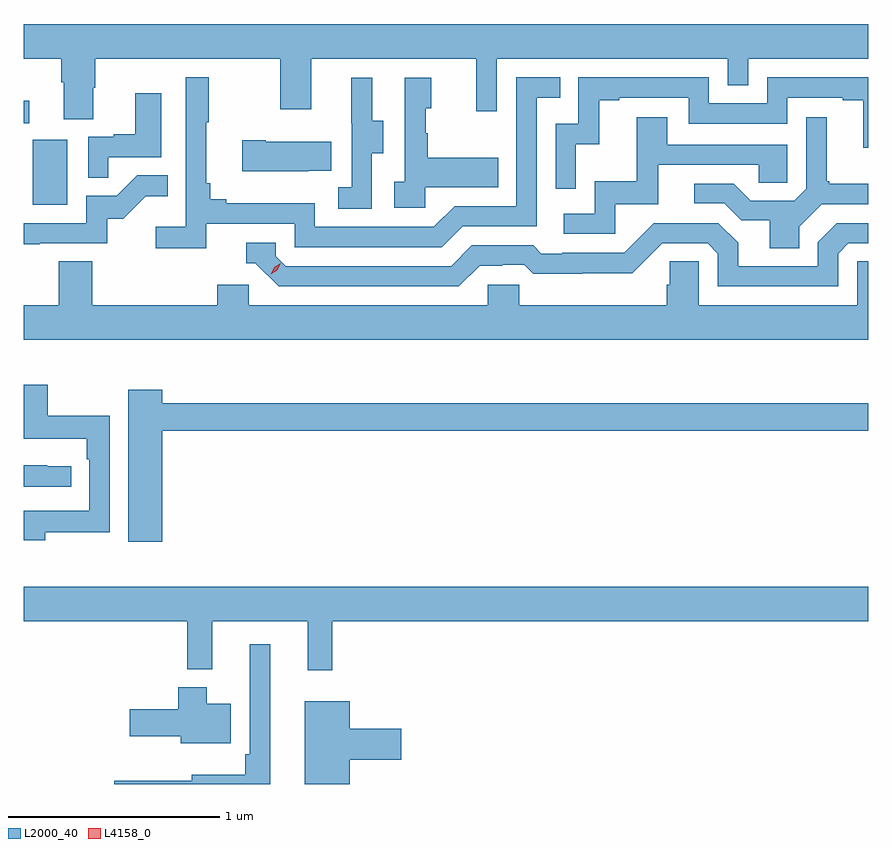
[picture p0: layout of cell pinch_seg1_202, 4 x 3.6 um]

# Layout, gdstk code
import gdstk
lib = gdstk.Library(unit=1e-6, precision=1e-09)
def R(c, l, rs):  # rectangles x0, y0, x1, y1
    for r in rs: c.add(gdstk.rectangle(r[:2], r[2:], *l))
def P(c, l, *ps):  # polygons
    for p in ps: c.add(gdstk.Polygon(p, *l))
L2000_40 = (2000, 40)
L4158_0 = (4158, 0)

pinch_seg1_202 = lib.new_cell('pinch_seg1_202')
R(pinch_seg1_202, L2000_40, [(997.82,579.012,997.984,579.319), (997.777,579.399,997.804,579.505)])
P(pinch_seg1_202, L2000_40, [(998.107,579.567),(998.115,579.567),(998.115,579.704),(998.992,579.704),(998.992,579.465),(999.139,579.465),(999.139,579.704),(999.92,579.704),(999.92,579.456),(1000.017,579.456),(1000.017,579.704),(1001.112,579.704),(1001.112,579.577),(1001.208,579.577),(1001.208,579.704),(1001.777,579.704),(1001.777,579.868),(997.777,579.868),(997.777,579.704),(997.955,579.704),(997.955,579.592),(997.967,579.592),(997.967,579.418),(998.107,579.418)],
  [(998.642,578.922),(999.06,578.922),(999.06,578.811),(999.757,578.811),(999.856,578.91),(1000.206,578.91),(1000.206,579.519),(1000.319,579.519),(1000.319,579.615),(1000.11,579.615),(1000.11,579.006),(999.819,579.006),(999.72,578.907),(999.156,578.907),(999.156,579.019),(998.737,579.019),(998.737,579.038),(998.66,579.038),(998.66,579.115),(998.641,579.115),(998.641,579.403),(998.653,579.403),(998.653,579.616),(998.544,579.616),(998.544,578.908),(998.403,578.908),(998.403,578.806),(998.642,578.806)],
  [(1000.392,579.299),(1000.502,579.299),(1000.502,579.507),(1000.597,579.507),(1000.597,579.519),(1000.926,579.519),(1000.926,579.396),(1001.394,579.396),(1001.394,579.519),(1001.657,579.519),(1001.657,579.507),(1001.753,579.507),(1001.753,579.281),(1001.777,579.281),(1001.777,579.615),(1001.298,579.615),(1001.298,579.492),(1001.022,579.492),(1001.022,579.615),(1000.404,579.615),(1000.404,579.396),(1000.296,579.396),(1000.296,579.087),(1000.392,579.087)],
  [(999.678,579.095),(1000.025,579.095),(1000.025,579.235),(999.691,579.235),(999.691,579.35),(999.681,579.35),(999.681,579.468),(999.706,579.468),(999.706,579.613),(999.582,579.613),(999.582,579.122),(999.531,579.122),(999.531,578.997),(999.678,578.997)],
  [(999.426,579.256),(999.481,579.256),(999.481,579.411),(999.427,579.411),(999.427,579.613),(999.329,579.613),(999.329,579.399),(999.33,579.399),(999.33,579.095),(999.267,579.095),(999.267,578.992),(999.426,578.992)],
  [(998.177,579.237),(998.428,579.237),(998.428,579.541),(998.306,579.541),(998.306,579.346),(998.203,579.346),(998.203,579.333),(998.082,579.333),(998.082,579.139),(998.177,579.139)],
  [(1001.449,578.908),(1001.556,579.015),(1001.777,579.015),(1001.777,579.112),(1001.593,579.112),(1001.593,579.124),(1001.581,579.124),(1001.581,579.427),(1001.484,579.427),(1001.484,579.087),(1001.427,579.03),(1001.221,579.03),(1001.14,579.111),(1000.953,579.111),(1000.953,579.018),(1001.094,579.018),(1001.174,578.938),(1001.309,578.938),(1001.309,578.806),(1001.449,578.806)],
  [(1000.578,579.015),(1000.783,579.015),(1000.783,579.201),(1001.257,579.201),(1001.257,579.117),(1001.394,579.117),(1001.394,579.297),(1000.825,579.297),(1000.825,579.427),(1000.681,579.427),(1000.681,579.124),(1000.482,579.124),(1000.482,578.97),(1000.335,578.97),(1000.335,578.874),(1000.578,578.874)],
  [(999.125,579.173),(999.233,579.173),(999.233,579.31),(998.923,579.31),(998.923,579.318),(998.811,579.318),(998.811,579.17),(999.125,579.17)],
  [(997.853,578.829),(998.172,578.829),(998.172,578.946),(998.248,578.946),(998.355,579.053),(998.459,579.053),(998.459,579.152),(998.316,579.152),(998.218,579.054),(998.073,579.054),(998.073,578.925),(997.777,578.925),(997.777,578.824),(997.853,578.824)],
  [(999.937,578.724),(1000.044,578.724),(1000.044,578.727),(1000.147,578.727),(1000.189,578.685),(1000.422,578.685),(1000.422,578.687),(1000.658,578.687),(1000.8,578.829),(1001.016,578.829),(1001.064,578.781),(1001.064,578.625),(1001.634,578.625),(1001.634,578.781),(1001.682,578.829),(1001.777,578.829),(1001.777,578.925),(1001.628,578.925),(1001.538,578.835),(1001.538,578.721),(1001.161,578.721),(1001.161,578.831),(1001.067,578.925),(1000.761,578.925),(1000.62,578.784),(1000.327,578.784),(1000.327,578.781),(1000.228,578.781),(1000.189,578.82),(999.9,578.82),(999.801,578.721),(999.018,578.721),(998.97,578.769),(998.97,578.832),(998.831,578.832),(998.831,578.736),(998.874,578.736),(998.985,578.625),(999.838,578.625)],
  [(1001.777,578.744),(1001.724,578.744),(1001.724,578.536),(1000.974,578.536),(1000.974,578.744),(1000.837,578.744),(1000.837,578.634),(1000.823,578.634),(1000.823,578.536),(1000.125,578.536),(1000.125,578.634),(999.975,578.634),(999.975,578.536),(998.844,578.536),(998.844,578.634),(998.693,578.634),(998.693,578.536),(998.102,578.536),(998.102,578.744),(997.942,578.744),(997.942,578.536),(997.777,578.536),(997.777,578.372),(1001.777,578.372)],
  [(997.879,577.462),(998.184,577.462),(998.184,578.014),(997.891,578.014),(997.891,578.16),(997.777,578.16),(997.777,577.904),(998.075,577.904),(998.075,577.808),(998.088,577.808),(998.088,577.563),(997.777,577.563),(997.777,577.424),(997.879,577.424)],
  [(998.434,577.942),(1001.777,577.942),(1001.777,578.071),(998.434,578.071),(998.434,578.137),(998.273,578.137),(998.273,577.416),(998.434,577.416)],
  [(998.002,577.773),(997.889,577.773),(997.889,577.778),(997.777,577.778),(997.777,577.677),(998.002,577.677)],
  [(999.239,577.04),(1001.777,577.04),(1001.777,577.204),(997.777,577.204),(997.777,577.04),(998.551,577.04),(998.551,576.812),(998.669,576.812),(998.669,577.04),(999.122,577.04),(999.122,576.807),(999.239,576.807)],
  [(998.944,576.931),(998.847,576.931),(998.847,576.409),(998.827,576.409),(998.827,576.313),(998.573,576.313),(998.573,576.284),(998.207,576.284),(998.207,576.269),(998.944,576.269)],
  [(998.758,576.649),(998.644,576.649),(998.644,576.727),(998.51,576.727),(998.51,576.624),(998.28,576.624),(998.28,576.494),(998.522,576.494),(998.522,576.461),(998.758,576.461)],
  [(999.322,576.383),(999.565,576.383),(999.565,576.53),(999.322,576.53),(999.322,576.661),(999.107,576.661),(999.107,576.269),(999.322,576.269)])
P(pinch_seg1_202, L4158_0, [(998.948,578.682),(998.948,578.682),(998.964,578.715),(998.994,578.735),(998.994,578.735),(998.994,578.735),(998.979,578.702),(998.948,578.682)])

lib.write_gds('pinch_seg1_202.gds')
